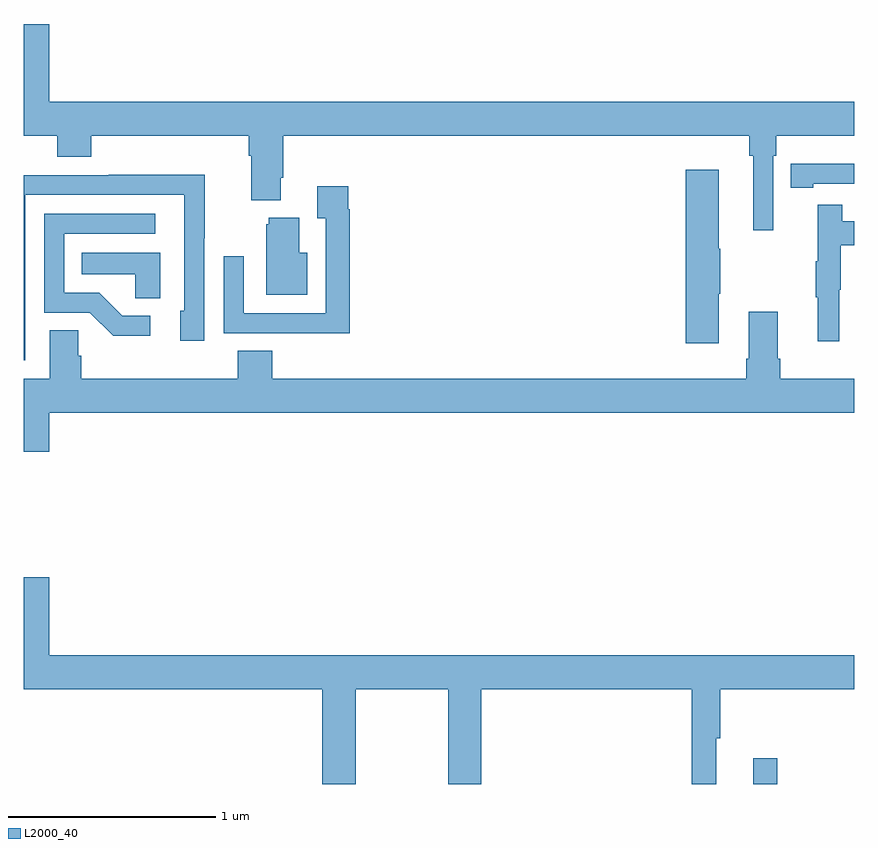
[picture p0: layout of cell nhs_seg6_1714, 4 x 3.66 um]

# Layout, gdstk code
import gdstk
lib = gdstk.Library(unit=1e-6, precision=1e-09)
def R(c, l, rs):  # rectangles x0, y0, x1, y1
    for r in rs: c.add(gdstk.rectangle(r[:2], r[2:], *l))
def P(c, l, *ps):  # polygons
    for p in ps: c.add(gdstk.Polygon(p, *l))
L2000_40 = (2000, 40)

nhs_seg6_1714 = lib.new_cell('nhs_seg6_1714')
R(nhs_seg6_1714, L2000_40, [(216.512,993.5,216.629,993.625)])
P(nhs_seg6_1714, L2000_40, [(216.609,996.524),(216.623,996.524),(216.623,996.62),(217,996.62),(217,996.784),(213.124,996.784),(213.124,997.159),(213,997.159),(213,996.62),(213.161,996.62),(213.161,996.521),(213.326,996.521),(213.326,996.62),(214.085,996.62),(214.085,996.524),(214.097,996.524),(214.097,996.311),(214.237,996.311),(214.237,996.418),(214.25,996.418),(214.25,996.62),(216.493,996.62),(216.493,996.524),(216.512,996.524),(216.512,996.165),(216.609,996.165)],
  [(216.802,996.39),(217,996.39),(217,996.487),(216.802,996.487),(216.802,996.486),(216.694,996.486),(216.694,996.37),(216.802,996.37)],
  [(216.346,995.86),(216.354,995.86),(216.354,996.077),(216.346,996.077),(216.346,996.457),(216.188,996.457),(216.188,995.622),(216.346,995.622)],
  [(213.009,996.336),(213.774,996.336),(213.774,995.778),(213.755,995.778),(213.755,995.634),(213.87,995.634),(213.87,996.127),(213.873,996.127),(213.873,996.434),(213.409,996.434),(213.409,996.432),(213,996.432),(213,995.541),(213.009,995.541)],
  [(214.571,996.266),(214.564,996.266),(214.564,996.379),(214.415,996.379),(214.415,996.223),(214.455,996.223),(214.455,995.766),(214.059,995.766),(214.059,996.04),(213.963,996.04),(213.963,995.67),(214.279,995.67),(214.279,995.669),(214.571,995.669)],
  [(216.926,995.88),(216.934,995.88),(216.934,996.094),(217,996.094),(217,996.21),(216.941,996.21),(216.941,996.289),(216.824,996.289),(216.824,996.017),(216.813,996.017),(216.813,995.843),(216.824,995.843),(216.824,995.631),(216.926,995.631)],
  [(213.61,995.754),(213.475,995.754),(213.364,995.865),(213.195,995.865),(213.195,996.15),(213.634,996.15),(213.634,996.246),(213.099,996.246),(213.099,995.769),(213.318,995.769),(213.431,995.657),(213.61,995.657)],
  [(214.366,996.058),(214.327,996.058),(214.327,996.226),(214.181,996.226),(214.181,996.195),(214.169,996.195),(214.169,995.855),(214.366,995.855)],
  [(213.658,996.058),(213.28,996.058),(213.28,995.954),(213.537,995.954),(213.537,995.839),(213.658,995.839)],
  [(213.124,995.288),(217,995.288),(217,995.452),(216.644,995.452),(216.644,995.548),(216.631,995.548),(216.631,995.773),(216.491,995.773),(216.491,995.548),(216.479,995.548),(216.479,995.452),(214.196,995.452),(214.196,995.585),(214.031,995.585),(214.031,995.452),(213.278,995.452),(213.278,995.561),(213.264,995.561),(213.264,995.684),(213.125,995.684),(213.125,995.452),(213,995.452),(213,995.1),(213.124,995.1)],
  [(214.599,993.956),(215.044,993.956),(215.044,993.5),(215.204,993.5),(215.204,993.956),(216.217,993.956),(216.217,993.5),(216.335,993.5),(216.335,993.72),(216.353,993.72),(216.353,993.956),(217,993.956),(217,994.12),(213.124,994.12),(213.124,994.495),(213,994.495),(213,993.956),(214.439,993.956),(214.439,993.5),(214.599,993.5)])

lib.write_gds('nhs_seg6_1714.gds')
